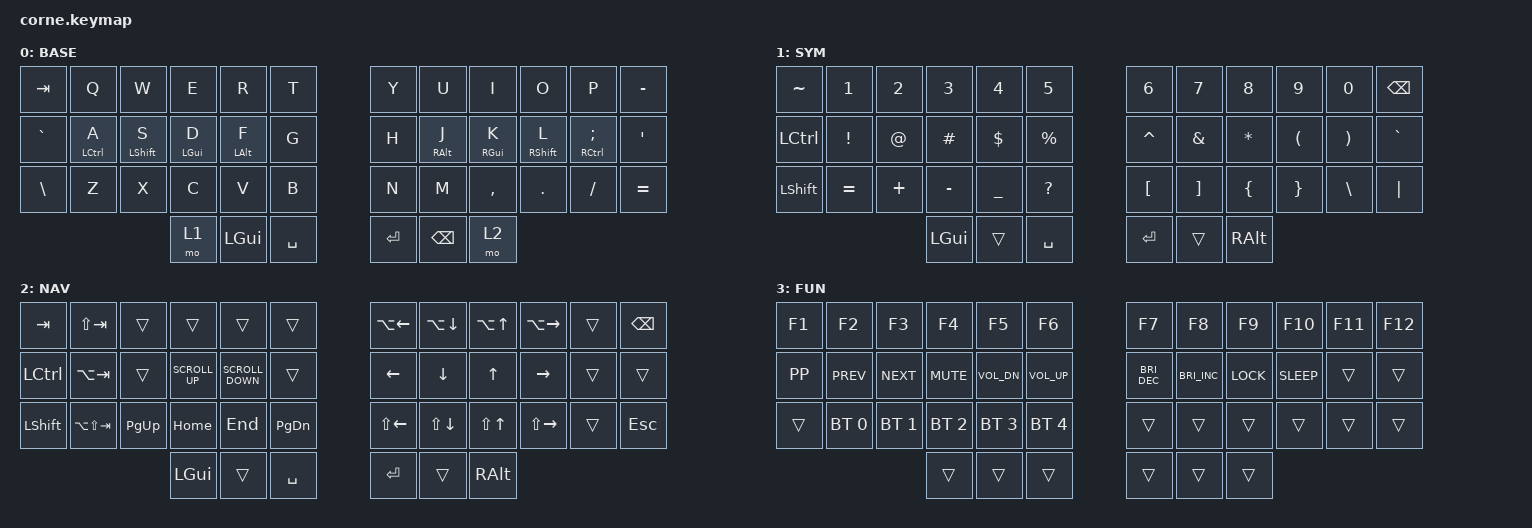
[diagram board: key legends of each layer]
/*
 * Copyright (c) 2020 The ZMK Contributors
 *
 * SPDX-License-Identifier: MIT
 */

#include <behaviors.dtsi>
#include <dt-bindings/zmk/bt.h>
#include <dt-bindings/zmk/keys.h>

/ {
    behaviors {
        hml: hml {
            compatible = "zmk,behavior-hold-tap";
            label = "HML";
            bindings = <&kp>, <&kp>;

            #binding-cells = <2>;
            hold-trigger-key-positions = <0 1 2 3 4 5 12 13 14 15 16 17 24 25 26 27 28 29 36 37 38>;
            tapping-term-ms = <200>;
            flavor = "balanced";
        };

        hmr: hmr {
            compatible = "zmk,behavior-hold-tap";
            label = "HMR";
            bindings = <&kp>, <&kp>;

            #binding-cells = <2>;
            tapping-term-ms = <200>;
            flavor = "balanced";
            hold-trigger-key-positions = <19 20 21 22 6 7 8 9 10 11 18 19 20 21 22 23 30 31 32 33 34 35 40 41 39>;
        };
    };

    keymap {
        compatible = "zmk,keymap";

        base_layer {
            label = "BASE";

            // -----------------------------------------------------------------------------------------
            // |  TAB |  Q  |  W  |  E  |  R  |  T  |   |  Y  |  U   |  I  |  O  |  P  | BSPC |
            // | CTRL |  A  |  S  |  D  |  F  |  G  |   |  H  |  J   |  K  |  L  |  ;  |  '   |
            // | SHFT |  Z  |  X  |  C  |  V  |  B  |   |  N  |  M   |  ,  |  .  |  /  | ESC  |
            //                    | GUI | LWR | SPC |   | ENT | RSE  | ALT |

            bindings = <
&kp TAB        &kp Q                &kp W          &kp E        &kp R            &kp T        &kp Y    &kp U             &kp I        &kp O          &kp P                 &kp MINUS
&kp GRAVE      &hml LEFT_CONTROL A  &hml LSHIFT S  &hml LGUI D  &hml LEFT_ALT F  &kp G        &kp H    &hmr RIGHT_ALT J  &hmr RGUI K  &hmr RSHIFT L  &hmr RCTRL SEMICOLON  &kp SQT
&kp BACKSLASH  &kp Z                &kp X          &kp C        &kp V            &kp B        &kp N    &kp M             &kp COMMA    &kp DOT        &kp FSLH              &kp EQUAL
                                                   &mo 1        &kp LGUI         &kp SPACE    &kp RET  &kp BACKSPACE     &mo 2
            >;
        };

        symbols_layer {
            label = "SYM";

            // -----------------------------------------------------------------------------------------
            // |  `   |  1  |  2  |  3  |  4  |  5  |   |  6  |  7  |  8  |  9  |  0  | BSPC |
            // | CTRL |  !  |  @  |  #  |  $  |  %  |   |  ^  |  &  |  *  |  (  |  )  |  ~   |
            // | SHFT |  =  |  +  |  -  |  _  |  ?  |   |  [  |  ]  |  {  |  }  |  \  | "|"  |
            //                    | GUI |     | SPC |   | ENT |     | ALT |

            bindings = <
&kp TILDE  &kp N1     &kp N2    &kp N3     &kp N4     &kp N5       &kp N6     &kp N7    &kp N8     &kp N9    &kp N0    &kp BSPC
&kp LCTRL  &kp EXCL   &kp AT    &kp HASH   &kp DLLR   &kp PRCNT    &kp CARET  &kp AMPS  &kp ASTRK  &kp LPAR  &kp RPAR  &kp GRAVE
&kp LSHFT  &kp EQUAL  &kp PLUS  &kp MINUS  &kp UNDER  &kp QMARK    &kp LBKT   &kp RBKT  &kp LBRC   &kp RBRC  &kp BSLH  &kp PIPE
                                &kp LGUI   &trans     &kp SPACE    &kp RET    &trans    &kp RALT
            >;
        };

        nav_layer {
            label = "NAV";

            // -----------------------------------------------------------------------------------------
            // |  TAB |  LS(TAB)   |       |       |       |       |     | LA(LFT) | LA(DWN) | LA(UP) | LA(RGT) |     | BSPC |
            // | CTRL |  LA(TAB)   |       | SC UP | SC DN |       |     | LFT     | DWN     | UP     | RGT     |     |      |
            // | SHFT | LA(LS(TAB) | PG UP |  HOME |  END  | PG DN |     | LS(LFT) | LS(DWN) | LS(UP) | LS(RGT) |     | ESC  |
            //                             |  GUI  |       | SPC   |     | ENT     |         | ALT    |

            bindings = <
&kp TAB    &kp LS(TAB)      &trans     &trans           &trans             &trans       &kp LA(LEFT)  &kp LA(DOWN)  &kp LA(UP)  &kp LA(RIGHT)  &trans  &kp BSPC
&kp LCTRL  &kp LA(TAB)      &trans     &kp K_SCROLL_UP  &kp K_SCROLL_DOWN  &trans       &kp LEFT      &kp DOWN      &kp UP      &kp RIGHT      &trans  &trans
&kp LSHFT  &kp LA(LS(TAB))  &kp PG_UP  &kp HOME         &kp END            &kp PG_DN    &kp LS(LEFT)  &kp LS(DOWN)  &kp LS(UP)  &kp LS(RIGHT)  &trans  &kp ESC
                                       &kp LGUI         &trans             &kp SPACE    &kp RET       &trans        &kp RALT
            >;
        };

        func_layer {
            label = "FUN";

            // -----------------------------------------------------------------------------------------
            // | F1 |  F2  |  F3  |   F4   |  F5  |   F6   |    |   F7   |   F8   |  F9  |  F10  | F11 | F12 |
            // | PP | PREV | NEXT | VOL UP | MUTE | VOL DN |    | BRG UP | BRG DN | LOCK | SLEEP |     |     |
            // |    | BT 1 | BT 2 |  BT 3  | BT 4 |  BT 5  |    |        |        |      |       |     |     |
            //                    |        |      |        |    |        |        |      |

            bindings = <
&kp F1    &kp F2        &kp F3        &kp F4        &kp F5        &kp F6          &kp F7                &kp F8                &kp F9      &kp F10      &kp F11  &kp F12
&kp K_PP  &kp K_PREV    &kp K_NEXT    &kp K_MUTE    &kp C_VOL_DN  &kp C_VOL_UP    &kp C_BRIGHTNESS_DEC  &kp C_BRIGHTNESS_INC  &kp K_LOCK  &kp K_SLEEP  &trans   &trans
&trans    &bt BT_SEL 0  &bt BT_SEL 1  &bt BT_SEL 2  &bt BT_SEL 3  &bt BT_SEL 4    &trans                &trans                &trans      &trans       &trans   &trans
                                      &trans        &trans        &trans          &trans                &trans                &trans
            >;
        };
    };

    combos {
        compatible = "zmk,combos";

        clear_ble {
            bindings = <&bt BT_CLR>;
            key-positions = <0 38 5>;
        };
    };

    conditional_layers {
        compatible = "zmk,conditional-layers";

        activate_func_layer {
            if-layers = <1 2>;
            then-layer = <3>;
        };
    };
};
